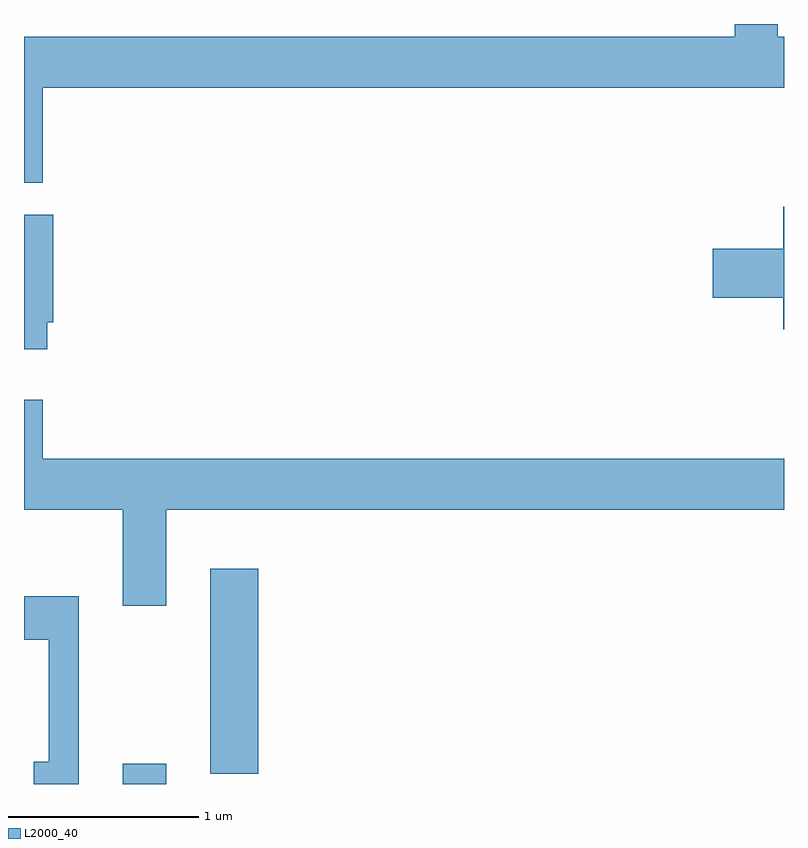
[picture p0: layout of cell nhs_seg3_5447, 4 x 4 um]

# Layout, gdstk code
import gdstk
lib = gdstk.Library(unit=1e-6, precision=1e-09)
def R(c, l, rs):  # rectangles x0, y0, x1, y1
    for r in rs: c.add(gdstk.rectangle(r[:2], r[2:], *l))
def P(c, l, *ps):  # polygons
    for p in ps: c.add(gdstk.Polygon(p, *l))
L2000_40 = (2000, 40)

nhs_seg3_5447 = lib.new_cell('nhs_seg3_5447')
R(nhs_seg3_5447, L2000_40, [(346.131,1137.892,346.359,1137.999), (346.591,1137.946,346.844,1139.024)])
P(nhs_seg3_5447, L2000_40, [(345.709,1141.556),(349.611,1141.556),(349.611,1141.824),(349.579,1141.824),(349.579,1141.892),(349.351,1141.892),(349.351,1141.824),(345.611,1141.824),(345.611,1141.056),(345.709,1141.056)],
  [(349.611,1140.929),(349.606,1140.929),(349.606,1140.709),(349.236,1140.709),(349.236,1140.451),(349.606,1140.451),(349.606,1140.286),(349.611,1140.286)],
  [(345.734,1140.321),(345.764,1140.321),(345.764,1140.889),(345.611,1140.889),(345.611,1140.181),(345.734,1140.181)],
  [(346.359,1139.336),(349.611,1139.336),(349.611,1139.604),(345.709,1139.604),(345.709,1139.914),(345.611,1139.914),(345.611,1139.336),(346.131,1139.336),(346.131,1138.831),(346.359,1138.831)],
  [(345.899,1138.879),(345.611,1138.879),(345.611,1138.651),(345.741,1138.651),(345.741,1138.009),(345.663,1138.009),(345.663,1137.892),(345.899,1137.892)])

lib.write_gds('nhs_seg3_5447.gds')
